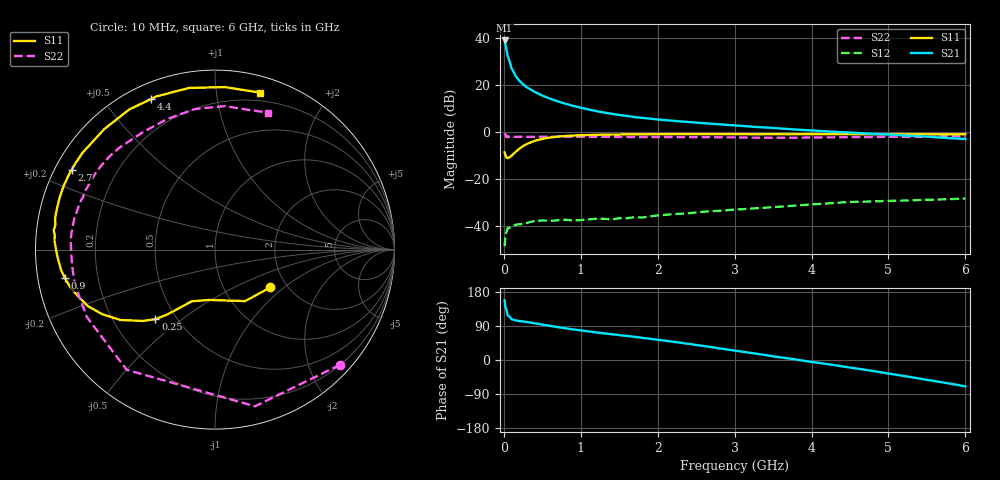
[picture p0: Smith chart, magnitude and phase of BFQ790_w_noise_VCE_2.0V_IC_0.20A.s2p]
! Infineon Technologies  Discrete & RF Semiconductors
! BFQ790
! VCE =  2.0 V,  IC = 0.20 A
! Common Emitter S-Parameters:  May 2015
# GHz  S  MA  R  50
!  f  S11  S21  S12  S22
! GHz  MAG  ANG  MAG  ANG  MAG  ANG  MAG  ANG
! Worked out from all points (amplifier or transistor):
!   77 points, 10 MHz to 6 GHz, reference 50 ohm
!   highest |S21| = 39.0 dB at 10 MHz (marker M1)
!   |S21| within 3 dB of that: start of sweep to 28.98 MHz
!   unconditionally stable (mu >= 1): 280.2 MHz to 334.4 MHz; 653.6 MHz to 721.3 MHz; 874.8 MHz to end of sweep
!   at 130 MHz: K = 0.69, MSG = 32.5 dB, |S12| = -39.7 dB
!   at 2.2 GHz: K = 1.25, MAG = 16.8 dB, |S12| = -34.8 dB
!   at 6 GHz: K = 1.09, MAG = 10.8 dB, |S12| = -28.2 dB
!   lowest NFmin = 3.33 dB at 1.5 GHz
!   S11 on the Smith chart (normalised r, x): 10 MHz: 1.64, -0.81; 250 MHz: 0.38, -0.40; 900 MHz: 0.08, -0.09; 2.7 GHz: 0.05, +0.26; 4.4 GHz: 0.07, +0.66; 6 GHz: 0.13, +1.32
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0.01  0.3733 -34.4  89.36 157.4  0.0038 67.7  0.9478 -42.6
0.02  0.3325 -59.7  73.84 140.2  0.0064 51.6  0.901 -75.7
0.05  0.2824 -96.7  41.32 117.4  0.0091 29.9  0.8311 -126.3
0.1  0.3154 -114.2  22.76 107.5  0.0099 16.9  0.8068 -152.2
0.15  0.3781 -121.1  15.93 104.5  0.0108 15.9  0.8006 -162.5
0.2  0.4471 -126.2  12.51 102.9  0.0111 19.4  0.8026 -168.0
0.25  0.5103 -130.6  10.43 101.5  0.0113 17.3  0.801 -171.7
0.3  0.5655 -135.3  8.981 100.1  0.0119 15.8  0.8006 -174.4
0.4  0.6577 -143.4  7.191 96.7  0.0131 13.7  0.8013 -178.6
0.5  0.7242 -150.2  6.007 93.4  0.0134 9.0  0.803 178.4
0.6  0.775 -156.0  5.182 90.1  0.0131 12.2  0.8054 175.9
0.7  0.8053 -161.1  4.529 86.8  0.0135 13.3  0.8053 173.7
0.9  0.8515 -169.4  3.639 80.7  0.0133 8.7  0.8032 170.2
1.1  0.8742 -176.0  3.051 75.5  0.0141 12.5  0.802 166.8
1.5  0.8963 174.9  2.333 65.7  0.0149 12.8  0.7953 161.1
2.1  0.9104 163.6  1.811 50.9  0.0176 13.9  0.7906 152.2
2.7  0.914 150.9  1.517 33.9  0.021 9.7  0.7849 140.2
3.1  0.911 141.6  1.363 22.0  0.0232 4.4  0.7739 131.0
4.1  0.9125 119.4  1.068 -7.9  0.03 -10.6  0.7755 107.4
4.4  0.9115 113.0  1.004 -16.8  0.0323 -16.1  0.7855 100.3
5.1  0.9077 96.7  0.876 -38.9  0.0351 -30.7  0.7994 84.0
6  0.9102 73.9  0.72 -69.7  0.0391 -51.7  0.8193 68.7
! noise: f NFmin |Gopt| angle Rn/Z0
0.45  5.48  0.47  141  0.52
0.9  3.84  0.6  168  0.17
1.5  3.33  0.71  -172  0.09
1.8  3.37  0.72  -167  0.11
2.6  3.63  0.75  -151  0.27
3.5  4.17  0.82  -135  0.61
